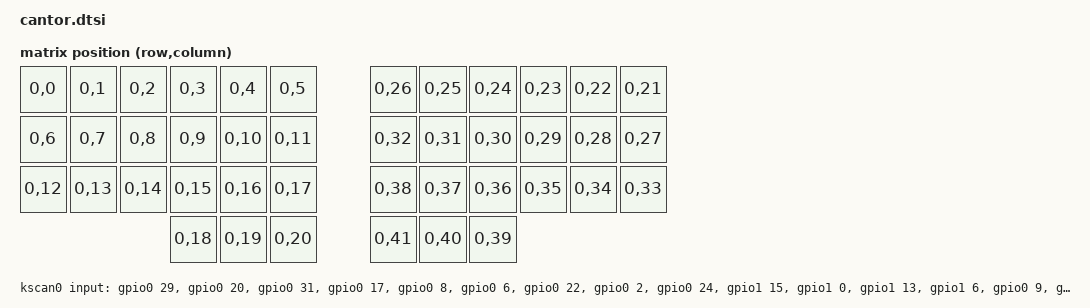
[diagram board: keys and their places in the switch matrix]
#include <dt-bindings/zmk/matrix_transform.h>
#include "cantor-layouts.dtsi"
&physical_layout0 {
    transform = <&default_transform>;
};

// Keyscan Setup
/ {
    chosen {
        zmk,kscan = &kscan0;
        zmk,physical-layout = &physical_layout0;
    };

    default_transform: keymap_transform_0 {
        compatible = "zmk,matrix-transform";
        columns = <42>;
        rows = <1>;

// | SW00 | SW01 | SW02 | SW03 | SW04 | SW05 |   | SW05  | SW04  | SW03  | SW02  | SW01  | SW00  |
// | SW10 | SW11 | SW12 | SW13 | SW14 | SW15 |   | SW15 | SW14 | SW13 | SW12  | SW11  | SW10  |
// | SW20 | SW21 | SW22 | SW23 | SW24 | SW25 |   | SW25 | SW24 | SW23 | SW22 | SW21 | SW20 |
//                      | SW30 | SW31 | SW32 |   | SW32 | SW31 | SW30 |

        map = <
            RC(0,0)  RC(0,1)  RC(0,2)  RC(0,3)  RC(0,4)  RC(0,5)     RC(0,26) RC(0,25) RC(0,24) RC(0,23) RC(0,22) RC(0,21)
            RC(0,6)  RC(0,7)  RC(0,8)  RC(0,9)  RC(0,10) RC(0,11)    RC(0,32) RC(0,31) RC(0,30) RC(0,29) RC(0,28) RC(0,27)
            RC(0,12) RC(0,13) RC(0,14) RC(0,15) RC(0,16) RC(0,17)    RC(0,38) RC(0,37) RC(0,36) RC(0,35) RC(0,34) RC(0,33)
                                       RC(0,18) RC(0,19) RC(0,20)    RC(0,41) RC(0,40) RC(0,39)
        >;
    };

    kscan0: kscan {
        compatible = "zmk,kscan-gpio-direct";
        label = "KSCAN";
        wakeup-source;
        input-gpios =
            <&gpio0 29 (GPIO_ACTIVE_LOW | GPIO_PULL_UP)>, //SW00
            <&gpio0 20 (GPIO_ACTIVE_LOW | GPIO_PULL_UP)>, //SW01
            <&gpio0 31 (GPIO_ACTIVE_LOW | GPIO_PULL_UP)>, //SW02
            <&gpio0 17 (GPIO_ACTIVE_LOW | GPIO_PULL_UP)>, //SW03
            <&gpio0 8  (GPIO_ACTIVE_LOW | GPIO_PULL_UP)>, //SW04
            <&gpio0 6  (GPIO_ACTIVE_LOW | GPIO_PULL_UP)>, //SW05

            <&gpio0 22 (GPIO_ACTIVE_LOW | GPIO_PULL_UP)>, //SW10
            <&gpio0 2  (GPIO_ACTIVE_LOW | GPIO_PULL_UP)>, //SW11
            <&gpio0 24 (GPIO_ACTIVE_LOW | GPIO_PULL_UP)>, //SW12
            <&gpio1 15 (GPIO_ACTIVE_LOW | GPIO_PULL_UP)>, //SW13
            <&gpio1 0  (GPIO_ACTIVE_LOW | GPIO_PULL_UP)>, //SW14
            <&gpio1 13 (GPIO_ACTIVE_LOW | GPIO_PULL_UP)>, //SW15

            <&gpio1 6  (GPIO_ACTIVE_LOW | GPIO_PULL_UP)>, //SW20
            <&gpio0 9  (GPIO_ACTIVE_LOW | GPIO_PULL_UP)>, //SW21
            <&gpio0 10 (GPIO_ACTIVE_LOW | GPIO_PULL_UP)>, //SW22
            <&gpio1 4  (GPIO_ACTIVE_LOW | GPIO_PULL_UP)>, //SW23
            <&gpio1 11 (GPIO_ACTIVE_LOW | GPIO_PULL_UP)>, //SW24
            <&gpio0 11 (GPIO_ACTIVE_LOW | GPIO_PULL_UP)>, //SW25

            <&gpio1 7  (GPIO_ACTIVE_LOW | GPIO_PULL_UP)>, //SW30
            <&gpio1 2  (GPIO_ACTIVE_LOW | GPIO_PULL_UP)>, //SW31
            <&gpio1 1  (GPIO_ACTIVE_LOW | GPIO_PULL_UP)>; //SW32
    };

};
